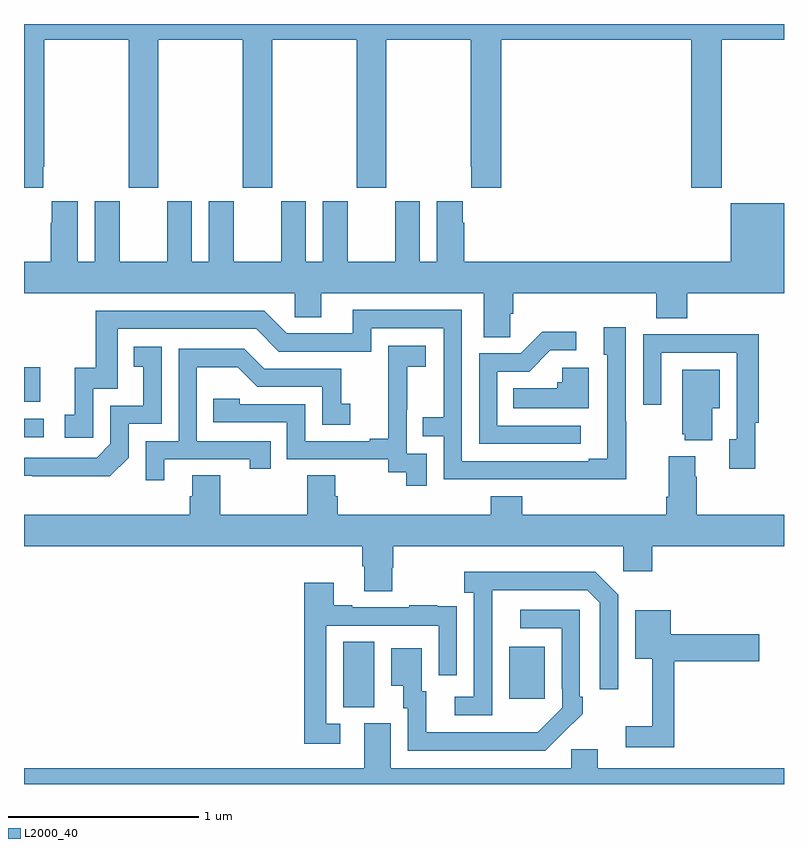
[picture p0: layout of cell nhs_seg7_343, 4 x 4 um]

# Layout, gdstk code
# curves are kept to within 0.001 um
import gdstk
lib = gdstk.Library(unit=1e-6, precision=1e-09)
def R(c, l, rs):  # rectangles x0, y0, x1, y1
    for r in rs: c.add(gdstk.rectangle(r[:2], r[2:], *l))
def P(c, l, *ps):  # polygons
    for p in ps: c.add(gdstk.Polygon(p, *l))
L2000_40 = (2000, 40)

nhs_seg7_343 = lib.new_cell('nhs_seg7_343')
R(nhs_seg7_343, L2000_40, [(138.68,1030.405,138.844,1030.748), (139.553,1030.449,139.741,1030.723), (137,1031.826,137.104,1031.922), (137,1032.011,137.086,1032.193)])
P(nhs_seg7_343, L2000_40, [(137.101,1033.249),(137.106,1033.249),(137.106,1033.916),(137.551,1033.916),(137.551,1033.137),(137.706,1033.137),(137.706,1033.916),(138.151,1033.916),(138.151,1033.137),(138.306,1033.137),(138.306,1033.916),(138.751,1033.916),(138.751,1033.137),(138.906,1033.137),(138.906,1033.916),(139.351,1033.916),(139.351,1033.249),(139.355,1033.249),(139.355,1033.137),(139.511,1033.137),(139.511,1033.916),(140.513,1033.916),(140.513,1033.137),(140.673,1033.137),(140.673,1033.916),(141,1033.916),(141,1034),(137,1034),(137,1033.137),(137.101,1033.137)],
  [(138.953,1033.066),(138.953,1032.748),(138.703,1032.748),(138.703,1033.066),(138.572,1033.066),(138.572,1032.748),(138.484,1032.748),(138.484,1033.066),(138.353,1033.066),(138.353,1032.748),(138.103,1032.748),(138.103,1033.066),(137.972,1033.066),(137.972,1032.748),(137.884,1032.748),(137.884,1033.066),(137.753,1033.066),(137.753,1032.748),(137.503,1032.748),(137.503,1033.066),(137.372,1033.066),(137.372,1032.748),(137.284,1032.748),(137.284,1033.066),(137.147,1033.066),(137.147,1032.953),(137.141,1032.953),(137.141,1032.748),(137,1032.748),(137,1032.584),(138.426,1032.584),(138.426,1032.457),(138.565,1032.457),(138.565,1032.584),(139.421,1032.584),(139.421,1032.352),(139.56,1032.352),(139.56,1032.475),(139.574,1032.475),(139.574,1032.584),(140.327,1032.584),(140.327,1032.451),(140.492,1032.451),(140.492,1032.584),(141,1032.584),(141,1033.057),(140.72,1033.057),(140.72,1032.748),(139.316,1032.748),(139.316,1032.953),(139.309,1032.953),(139.309,1033.066),(139.172,1033.066),(139.172,1032.748),(139.084,1032.748),(139.084,1033.066)],
  [(140.169,1031.909),(140.166,1031.909),(140.166,1032.403),(140.051,1032.403),(140.051,1032.258),(140.07,1032.258),(140.07,1031.713),(139.973,1031.713),(139.973,1031.7),(139.305,1031.7),(139.305,1032.495),(138.731,1032.495),(138.731,1032.372),(138.384,1032.372),(138.264,1032.492),(137.377,1032.492),(137.377,1032.19),(137.267,1032.19),(137.267,1031.943),(137.214,1031.943),(137.214,1031.823),(137.364,1031.823),(137.364,1032.081),(137.493,1032.081),(137.493,1032.396),(138.222,1032.396),(138.342,1032.276),(138.828,1032.276),(138.828,1032.399),(139.209,1032.399),(139.209,1031.93),(139.099,1031.93),(139.099,1031.829),(139.209,1031.829),(139.209,1031.604),(140.169,1031.603)],
  [(139.93,1031.886),(139.491,1031.886),(139.491,1032.171),(139.66,1032.171),(139.771,1032.282),(139.906,1032.282),(139.906,1032.38),(139.727,1032.38),(139.614,1032.267),(139.395,1032.267),(139.395,1031.79),(139.93,1031.79)],
  [(140.849,1031.902),(140.867,1031.902),(140.867,1032.368),(140.575,1032.368),(140.575,1032.366),(140.259,1032.366),(140.259,1031.997),(140.355,1031.997),(140.355,1032.27),(140.751,1032.27),(140.751,1031.814),(140.711,1031.814),(140.711,1031.658),(140.849,1031.658)],
  [(139.119,1031.739),(139.014,1031.739),(139.014,1031.969),(139.016,1031.969),(139.016,1032.197),(139.114,1032.197),(139.114,1032.307),(138.916,1032.307),(138.916,1032.101),(138.917,1032.101),(138.917,1031.818),(138.821,1031.818),(138.821,1031.805),(138.48,1031.805),(138.48,1032),(138.135,1032),(138.135,1032.027),(137.995,1032.027),(137.995,1031.904),(138.384,1031.904),(138.384,1031.709),(138.918,1031.709),(138.918,1031.641),(139.011,1031.641),(139.011,1031.571),(139.119,1031.571)],
  [(137.55,1031.718),(137.55,1031.895),(137.724,1031.895),(137.724,1032.301),(137.578,1032.301),(137.578,1032.195),(137.627,1032.195),(137.627,1031.991),(137.454,1031.991),(137.454,1031.79),(137.382,1031.718),(137,1031.718),(137,1031.622),(137.044,1031.621),(137.452,1031.621)],
  [(137.737,1031.709),(138.188,1031.709),(138.188,1031.658),(138.299,1031.658),(138.299,1031.805),(137.91,1031.805),(137.91,1032.194),(138.124,1032.194),(138.228,1032.09),(138.57,1032.09),(138.57,1031.892),(138.718,1031.892),(138.718,1032.001),(138.669,1032.001),(138.669,1032.186),(138.265,1032.186),(138.16,1032.291),(137.814,1032.291),(137.814,1031.805),(137.64,1031.805),(137.64,1031.598),(137.737,1031.598)],
  [(139.972,1032.19),(139.833,1032.19),(139.833,1032.114),(139.807,1032.114),(139.807,1032.082),(139.576,1032.082),(139.576,1031.978),(139.972,1031.978)],
  [(140.623,1031.978),(140.662,1031.978),(140.662,1032.181),(140.465,1032.181),(140.465,1031.841),(140.477,1031.841),(140.477,1031.81),(140.623,1031.81)],
  [(138.939,1031.139),(138.944,1031.139),(138.944,1031.252),(140.154,1031.252),(140.154,1031.121),(140.306,1031.121),(140.306,1031.252),(141,1031.252),(141,1031.416),(140.541,1031.416),(140.541,1031.618),(140.533,1031.618),(140.533,1031.725),(140.393,1031.725),(140.393,1031.512),(140.381,1031.512),(140.381,1031.416),(139.622,1031.416),(139.622,1031.515),(139.457,1031.515),(139.457,1031.416),(138.65,1031.416),(138.65,1031.514),(138.637,1031.514),(138.637,1031.624),(138.49,1031.624),(138.49,1031.416),(138.033,1031.416),(138.033,1031.624),(137.885,1031.624),(137.885,1031.514),(137.873,1031.514),(137.873,1031.416),(137,1031.416),(137,1031.252),(138.779,1031.252),(138.779,1031.146),(138.791,1031.146),(138.791,1031.014),(138.939,1031.014)],
  [(139.464,1030.819),(139.465,1031.019),(139.965,1031.019),(140.031,1030.953),(140.031,1030.5),(140.127,1030.5),(140.127,1030.995),(140.006,1031.116),(139.317,1031.116),(139.317,1031.006),(139.368,1031.006),(139.368,1030.458),(139.266,1030.458),(139.266,1030.362),(139.464,1030.362)],
  [(138.664,1030.317),(138.591,1030.317),(138.591,1030.833),(139.182,1030.833),(139.182,1030.572),(139.278,1030.572),(139.278,1030.826),(139.277,1030.826),(139.277,1030.935),(139.175,1030.935),(139.175,1030.942),(139.027,1030.942),(139.027,1030.929),(138.727,1030.929),(138.727,1030.942),(138.631,1030.942),(138.631,1031.059),(138.475,1031.059),(138.475,1030.212),(138.664,1030.212)],
  [(139.835,1030.267),(139.836,1030.266),(139.941,1030.371),(139.941,1030.459),(139.926,1030.459),(139.926,1030.917),(139.611,1030.917),(139.611,1030.821),(139.83,1030.821),(139.83,1030.501),(139.833,1030.501),(139.833,1030.401),(139.705,1030.273),(139.117,1030.272),(139.117,1030.488),(139.093,1030.488),(139.093,1030.714),(138.932,1030.714),(138.932,1030.517),(138.995,1030.517),(138.995,1030.398),(139.02,1030.398),(139.02,1030.176),(139.744,1030.176)],
  [(140.423,1030.646),(140.869,1030.646),(140.869,1030.788),(140.404,1030.788),(140.404,1030.915),(140.216,1030.915),(140.216,1030.658),(140.306,1030.658),(140.306,1030.303),(140.166,1030.303),(140.166,1030.194),(140.423,1030.194)],
  [(141,1030.084),(140.02,1030.084),(140.02,1030.182),(139.881,1030.182),(139.881,1030.084),(138.931,1030.084),(138.931,1030.32),(138.791,1030.32),(138.791,1030.084),(137,1030.084),(137,1030),(141,1030)])

lib.write_gds('nhs_seg7_343.gds')
